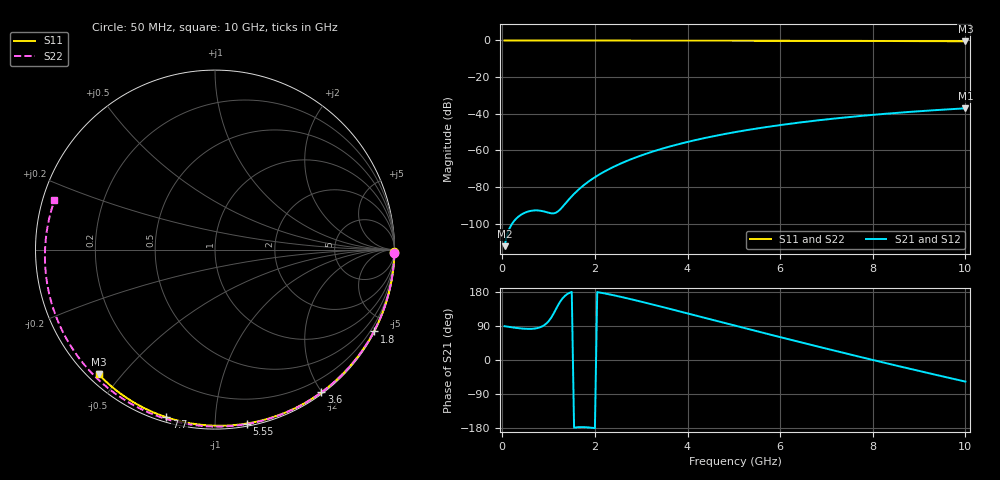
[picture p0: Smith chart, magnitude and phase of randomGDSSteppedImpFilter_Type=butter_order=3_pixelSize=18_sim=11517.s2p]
! freq	dB(S11)	phase(S11)	dB(S12)	phase(S12)
!  dB(S21)	phase(S21)	dB(S22)	phase(S22)
!S-par simulation data
#  GHz  S  DB  R 50
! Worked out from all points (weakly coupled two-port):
!   200 points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, 50 MHz to 10 GHz, reference 50 ohm
!   highest |S21| = -37.02 dB at 10 GHz (marker M1); lowest = -112.2 dB at 50 MHz (marker M2)
!   lowest |S11| = -0.4 dB at 10 GHz (marker M3), VSWR 39.01, Z = 1.52 - j21.7 ohm
!   |S11| at or under -10 dB: nowhere
!   |S22| runs from -0.6 to 0.0 dB; largest |S21 - S12| = 0
!   S11 on the Smith chart (normalised r, x): 50 MHz: open; 1.8 GHz: 0.04, -4.12; 3.6 GHz: 0.02, -1.99; 5.55 GHz: 0.02, -1.20; 7.7 GHz: 0.02, -0.75; 10 GHz: 0.03, -0.43
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0.05  -0.00 -0.8  -112.17 89.2  -112.17 89.2  -0.00 -1.2
0.45  -0.01 -6.9  -94.38 82.7  -94.38 82.7  -0.01 -10.6
0.85  -0.02 -13.0  -92.97 88.0  -92.97 88.0  -0.03 -19.9
1.25  -0.02 -19.0  -92.15 154.1  -92.15 154.1  -0.04 -29.1
1.7  -0.03 -25.8  -80.16 -176.9  -80.16 -176.9  -0.05 -39.3
1.75  -0.03 -26.5  -79.11 -177.0  -79.11 -177.0  -0.05 -40.5
1.8  -0.03 -27.3  -78.12 -177.3  -78.12 -177.3  -0.05 -41.6
2.1  -0.04 -31.7  -73.02 178.1  -73.02 178.1  -0.06 -48.2
2.5  -0.05 -37.6  -67.77 168.3  -67.77 168.3  -0.07 -57.0
2.9  -0.06 -43.3  -63.61 156.9  -63.61 156.9  -0.08 -65.5
3.4  -0.07 -50.5  -59.41 141.7  -59.41 141.7  -0.10 -75.9
3.6  -0.07 -53.3  -57.95 135.5  -57.95 135.5  -0.11 -79.9
4.3  -0.09 -63.0  -53.60 113.5  -53.60 113.5  -0.13 -93.8
5.05  -0.11 -73.0  -49.88 89.9  -49.88 89.9  -0.16 -108.1
5.55  -0.13 -79.6  -47.80 74.3  -47.80 74.3  -0.19 -117.3
6.15  -0.15 -87.2  -45.63 55.8  -45.63 55.8  -0.22 -128.1
6.7  -0.18 -94.1  -43.90 39.0  -43.90 39.0  -0.26 -137.8
7.2  -0.21 -100.2  -42.50 23.9  -42.50 23.9  -0.30 -146.6
7.7  -0.24 -106.3  -41.25 9.0  -41.25 9.0  -0.34 -155.3
8.35  -0.29 -113.9  -39.82 -10.1  -39.82 -10.1  -0.40 -166.8
9.2  -0.36 -123.8  -38.24 -34.6  -38.24 -34.6  -0.49 177.9
10  -0.45 -133.0  -37.02 -57.0  -37.02 -57.0  -0.58 163.0
